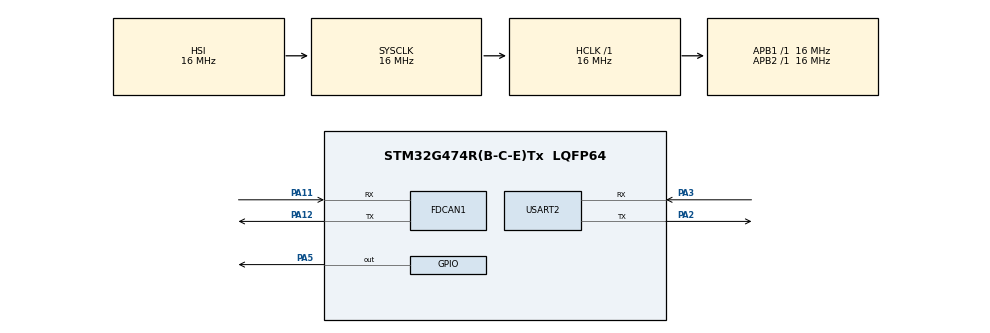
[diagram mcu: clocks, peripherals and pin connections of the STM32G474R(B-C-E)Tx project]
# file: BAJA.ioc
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FDCAN1.CalculateBaudRateNominal=333333
FDCAN1.CalculateTimeBitNominal=3000
FDCAN1.CalculateTimeQuantumNominal=1000.0
Mcu.Family=STM32G4
Mcu.Name=STM32G474R(B-C-E)Tx
Mcu.Package=LQFP64
NVIC.PriorityGroup=NVIC_PRIORITYGROUP_4
PA11.Mode=FDCAN_Activate
PA11.Signal=FDCAN1_RX
PA12.Mode=FDCAN_Activate
PA12.Signal=FDCAN1_TX
PA2.Mode=Asynchronous
PA2.Signal=USART2_TX
PA3.Mode=Asynchronous
PA3.Signal=USART2_RX
PA5.Signal=GPIO_Output
ProjectManager.HeapSize=0x200
ProjectManager.StackSize=0x400
ProjectManager.TargetToolchain=STM32CubeIDE
RCC.AHBFreq_Value=16000000
RCC.APB1Freq_Value=16000000
RCC.APB1TimFreq_Value=16000000
RCC.APB2Freq_Value=16000000
RCC.APB2TimFreq_Value=16000000
RCC.CortexFreq_Value=16000000
RCC.EXTERNAL_CLOCK_VALUE=12288000
RCC.HCLKFreq_Value=16000000
RCC.HSE_VALUE=8000000
RCC.HSI48_VALUE=48000000
RCC.HSI_VALUE=16000000
RCC.LSE_VALUE=32768
RCC.SYSCLKFreq_VALUE=16000000
RCC.USBFreq_Value=64000000
RCC.VCOOutputFreq_Value=128000000
USART2.VirtualMode-Asynchronous=VM_ASYNC
VP_SYS_VS_DBSignals.Mode=DisableDeadBatterySignals
board=custom

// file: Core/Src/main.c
/* USER CODE BEGIN Header */
/**
  ******************************************************************************
  * @file           : main.c
  * @brief          : Main program body
  ******************************************************************************
  * @attention
  *
  * Copyright (c) 2025 STMicroelectronics.
  * All rights reserved.
  *
  * This software is licensed under terms that can be found in the LICENSE file
  * in the root directory of this software component.
  * If no LICENSE file comes with this software, it is provided AS-IS.
  *
  ******************************************************************************
  */
/* USER CODE END Header */
#include "main.h"

FDCAN_HandleTypeDef hfdcan1;

UART_HandleTypeDef huart2;

/* USER CODE BEGIN PV */
FDCAN_TxHeaderTypeDef   TxHeader;
uint8_t                 TxData[8];
/* USER CODE END PV */

void SystemClock_Config(void);
static void MX_GPIO_Init(void);
static void MX_FDCAN1_Init(void);
static void MX_USART2_UART_Init(void);

/* USER CODE BEGIN 0 */
int _write(int file, char *ptr, int len)
{
    HAL_UART_Transmit(&huart2, (uint8_t*)ptr, len, HAL_MAX_DELAY);
    return len;
}
/* USER CODE END 0 */

int main(void)
{

  /* MCU Configuration--------------------------------------------------------*/

  /* Reset of all peripherals, Initializes the Flash interface and the Systick. */
  HAL_Init();

  /* Configure the system clock */
  SystemClock_Config();

  /* Initialize all configured peripherals */
  MX_GPIO_Init();
  MX_FDCAN1_Init();
  MX_USART2_UART_Init();
  /* USER CODE BEGIN 2 */
  FDCAN_FilterTypeDef filter;
  filter.IdType = FDCAN_STANDARD_ID;
  filter.FilterIndex = 0;
  filter.FilterType = FDCAN_FILTER_MASK;
  filter.FilterConfig = FDCAN_FILTER_TO_RXFIFO0;
  filter.FilterID1 = 0x000;   // ID
  filter.FilterID2 = 0x000;   // mask = accept ALL

  HAL_FDCAN_ConfigFilter(&hfdcan1, &filter);

  HAL_FDCAN_Start(&hfdcan1);          // Start CAN peripheral
  HAL_FDCAN_ActivateNotification(
      &hfdcan1,
      FDCAN_IT_RX_FIFO0_NEW_MESSAGE, 0 );  // Interrupt when message received

   TxHeader.IdType = FDCAN_STANDARD_ID;
   TxHeader.Identifier = 0x123;
   TxHeader.TxFrameType = FDCAN_DATA_FRAME;
   TxHeader.DataLength = FDCAN_DLC_BYTES_2;
   TxHeader.ErrorStateIndicator = FDCAN_ESI_ACTIVE;
   TxHeader.BitRateSwitch = FDCAN_BRS_OFF;
   TxHeader.FDFormat = FDCAN_CLASSIC_CAN;
   TxHeader.TxEventFifoControl = FDCAN_NO_TX_EVENTS;
   TxHeader.MessageMarker = 0;
  /* USER CODE END 2 */

  /* Infinite loop */
  while (1)
  {

    /* USER CODE BEGIN 3 */
	  TxData[0] = 0xAB;
	  TxData[1] = 0xCD;

	  if (HAL_FDCAN_AddMessageToTxFifoQ(&hfdcan1, &TxHeader, TxData) != HAL_OK)
	  {
	      Error_Handler();
	  }

	  HAL_Delay(1000);
  }
  /* USER CODE END 3 */
}

void SystemClock_Config(void)
{
  RCC_OscInitTypeDef RCC_OscInitStruct = {0};
  RCC_ClkInitTypeDef RCC_ClkInitStruct = {0};

  /** Configure the main internal regulator output voltage
  */
  HAL_PWREx_ControlVoltageScaling(PWR_REGULATOR_VOLTAGE_SCALE1);

  /** Initializes the RCC Oscillators according to the specified parameters
  * in the RCC_OscInitTypeDef structure.
  */
  RCC_OscInitStruct.OscillatorType = RCC_OSCILLATORTYPE_HSI;
  RCC_OscInitStruct.HSIState = RCC_HSI_ON;
  RCC_OscInitStruct.HSICalibrationValue = RCC_HSICALIBRATION_DEFAULT;
  RCC_OscInitStruct.PLL.PLLState = RCC_PLL_NONE;
  if (HAL_RCC_OscConfig(&RCC_OscInitStruct) != HAL_OK)
  {
    Error_Handler();
  }

  /** Initializes the CPU, AHB and APB buses clocks
  */
  RCC_ClkInitStruct.ClockType = RCC_CLOCKTYPE_HCLK|RCC_CLOCKTYPE_SYSCLK
                              |RCC_CLOCKTYPE_PCLK1|RCC_CLOCKTYPE_PCLK2;
  RCC_ClkInitStruct.SYSCLKSource = RCC_SYSCLKSOURCE_HSI;
  RCC_ClkInitStruct.AHBCLKDivider = RCC_SYSCLK_DIV1;
  RCC_ClkInitStruct.APB1CLKDivider = RCC_HCLK_DIV1;
  RCC_ClkInitStruct.APB2CLKDivider = RCC_HCLK_DIV1;

  if (HAL_RCC_ClockConfig(&RCC_ClkInitStruct, FLASH_LATENCY_0) != HAL_OK)
  {
    Error_Handler();
  }
}

static void MX_FDCAN1_Init(void)
{

  hfdcan1.Instance = FDCAN1;
  hfdcan1.Init.ClockDivider = FDCAN_CLOCK_DIV1;
  hfdcan1.Init.FrameFormat = FDCAN_FRAME_CLASSIC;
  hfdcan1.Init.Mode = FDCAN_MODE_NORMAL;
  hfdcan1.Init.AutoRetransmission = DISABLE;
  hfdcan1.Init.TransmitPause = DISABLE;
  hfdcan1.Init.ProtocolException = DISABLE;
  hfdcan1.Init.NominalPrescaler = 16;
  hfdcan1.Init.NominalSyncJumpWidth = 1;
  hfdcan1.Init.NominalTimeSeg1 = 1;
  hfdcan1.Init.NominalTimeSeg2 = 1;
  hfdcan1.Init.DataPrescaler = 1;
  hfdcan1.Init.DataSyncJumpWidth = 1;
  hfdcan1.Init.DataTimeSeg1 = 1;
  hfdcan1.Init.DataTimeSeg2 = 1;
  hfdcan1.Init.StdFiltersNbr = 1;
  hfdcan1.Init.ExtFiltersNbr = 0;
  hfdcan1.Init.TxFifoQueueMode = FDCAN_TX_FIFO_OPERATION;
  if (HAL_FDCAN_Init(&hfdcan1) != HAL_OK)
  {
    Error_Handler();
  }

}

static void MX_USART2_UART_Init(void)
{

  huart2.Instance = USART2;
  huart2.Init.BaudRate = 115200;
  huart2.Init.WordLength = UART_WORDLENGTH_8B;
  huart2.Init.StopBits = UART_STOPBITS_1;
  huart2.Init.Parity = UART_PARITY_NONE;
  huart2.Init.Mode = UART_MODE_TX_RX;
  huart2.Init.HwFlowCtl = UART_HWCONTROL_NONE;
  huart2.Init.OverSampling = UART_OVERSAMPLING_16;
  huart2.Init.OneBitSampling = UART_ONE_BIT_SAMPLE_DISABLE;
  huart2.Init.ClockPrescaler = UART_PRESCALER_DIV1;
  huart2.AdvancedInit.AdvFeatureInit = UART_ADVFEATURE_NO_INIT;
  if (HAL_UART_Init(&huart2) != HAL_OK)
  {
    Error_Handler();
  }
  if (HAL_UARTEx_SetTxFifoThreshold(&huart2, UART_TXFIFO_THRESHOLD_1_8) != HAL_OK)
  {
    Error_Handler();
  }
  if (HAL_UARTEx_SetRxFifoThreshold(&huart2, UART_RXFIFO_THRESHOLD_1_8) != HAL_OK)
  {
    Error_Handler();
  }
  if (HAL_UARTEx_DisableFifoMode(&huart2) != HAL_OK)
  {
    Error_Handler();
  }

}

static void MX_GPIO_Init(void)
{
  GPIO_InitTypeDef GPIO_InitStruct = {0};

  /* GPIO Ports Clock Enable */
  __HAL_RCC_GPIOA_CLK_ENABLE();

  /*Configure GPIO pin Output Level */
  HAL_GPIO_WritePin(GPIOA, GPIO_PIN_5, GPIO_PIN_RESET);

  /*Configure GPIO pin : PA5 */
  GPIO_InitStruct.Pin = GPIO_PIN_5;
  GPIO_InitStruct.Mode = GPIO_MODE_OUTPUT_PP;
  GPIO_InitStruct.Pull = GPIO_NOPULL;
  GPIO_InitStruct.Speed = GPIO_SPEED_FREQ_LOW;
  HAL_GPIO_Init(GPIOA, &GPIO_InitStruct);

}

/* USER CODE BEGIN 4 */
void HAL_FDCAN_RxFifo0Callback(FDCAN_HandleTypeDef *hfdcan, uint32_t itFlags)
{
    if ( (itFlags & FDCAN_IT_RX_FIFO0_NEW_MESSAGE) != 0 )
    {
        FDCAN_RxHeaderTypeDef rxHeader;
        uint8_t rxData[64];

        if (HAL_FDCAN_GetRxMessage(hfdcan, FDCAN_RX_FIFO0, &rxHeader, rxData) != HAL_OK)
        {
            return;
        }

        HAL_GPIO_TogglePin(GPIOA, GPIO_PIN_5);

        printf("RX CAN ID: 0x%03X | DLC: %d | Data:", rxHeader.Identifier, rxHeader.DataLength);

        uint8_t dlc = (rxHeader.DataLength >> 16) & 0x0F;
        uint8_t length = FDCAN_DLC_TO_BYTES(rxHeader.DataLength);

        for (int i = 0; i < length; i++)
        {
            printf(" %02X", rxData[i]);
        }
        printf("\r\n");

    }
}

/* USER CODE END 4 */

void Error_Handler(void)
{
  __disable_irq();
  while (1)
  {
  }
}
